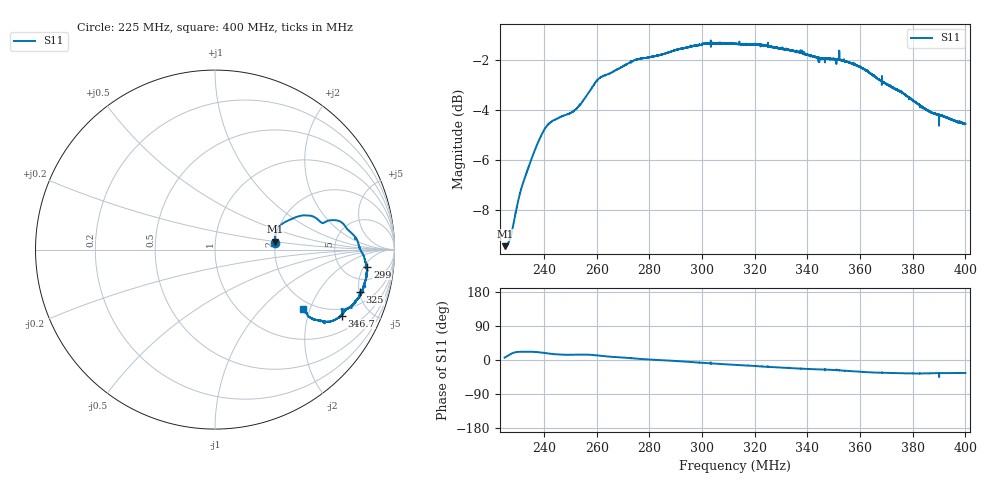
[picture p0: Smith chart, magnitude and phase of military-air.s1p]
! Calibrated averaged scanner-service zoom
# Hz S RI R 50
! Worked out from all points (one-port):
!   10001 points, 225 MHz to 400 MHz, reference 50 ohm
!   lowest |S11| = -9.4 dB at 225.3 MHz (marker M1), VSWR 2.02, Z = 99.6 + j9.75 ohm
!   |S11| at or under -10 dB: nowhere
!   S11 on the Smith chart (normalised r, x): 225 MHz: 2.00, +0.17; 299 MHz: 9, -6; 325 MHz: 3.14, -5.09; 346.7 MHz: 1.66, -3.33; 400 MHz: 1.74, -1.79
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2.25e8  0.3357 0.0366
2.2528e8  0.3343 0.0434
2.271175e8  0.3378 0.0901
2.296725e8  0.3773 0.1454
2.315975e8  0.4125 0.164
2.34905e8  0.4629 0.1847
2.382125e8  0.5167 0.1907
2.41275e8  0.5606 0.1776
2.46875e8  0.5942 0.1501
2.496225e8  0.6028 0.1471
2.529125e8  0.6196 0.1569
2.580925e8  0.6781 0.1631
2.6161e8  0.721 0.1371
2.6875e8  0.7586 0.0937
2.75435e8  0.7944 0.0478
2.90625e8  0.8314 -0.0426
2.9899e8  0.8488 -0.0946
3.057275e8  0.8426 -0.1468
3.125e8  0.833 -0.1892
3.2496e8  0.8075 -0.2365
3.34375e8  0.769 -0.3051
3.466775e8  0.7069 -0.3673
3.5191e8  0.7069 -0.3633
3.5625e8  0.6821 -0.3837
3.63705e8  0.6302 -0.4017
3.78125e8  0.5466 -0.3875
3.85475e8  0.5133 -0.3638
4e8  0.4885 -0.3335
